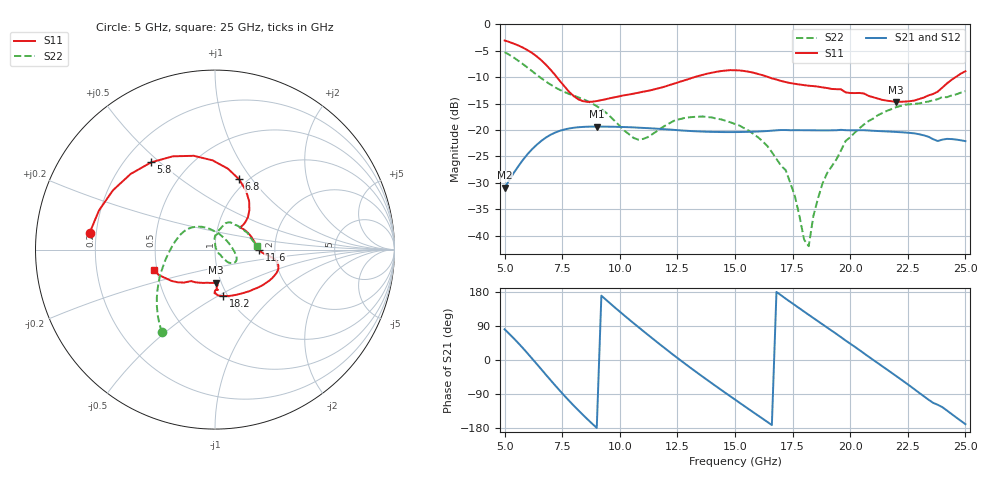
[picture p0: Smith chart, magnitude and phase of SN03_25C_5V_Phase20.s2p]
!File name = SN03_25C_5V_Phase20.s2p
!Date = 2/3/2014
!Time = 2:35 PM
!Test duration(min) = 0.07
!Test = SPars
!MPTS version = 7.120.8
!Comments =
!set_LD1(binary) = 20
!set_LD2(binary) = 524267
!test = SPars
!date_code = 20140203
!file_name = SN03_25C_5V_Phase20.s2p
!VREF(V) = 5.000
!VREF(mA) = 0.002
# GHz  S  DB  R  50
!%	Freq(GHz)  S11(dB)  S11(deg)  S21(dB)  S21(deg)  S12(dB)  S12(deg)  S22(dB)  S22(deg)
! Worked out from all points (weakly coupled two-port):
!   101 points, 5 GHz to 25 GHz, reference 50 ohm
!   highest |S21| = -19.34 dB at 9 GHz (marker M1); lowest = -30.9 dB at 5 GHz (marker M2)
!   lowest |S11| = -14.7 dB at 22 GHz (marker M3), VSWR 1.45, Z = 47 - j18 ohm
!   |S11| at or under -10 dB: 7.27 GHz to 13.22 GHz (5.952 GHz wide, 58.1 % of centre); 16.46 GHz to 24.57 GHz (8.109 GHz wide, 39.5 % of centre)
!   |S22| runs from -42.0 to -5.2 dB; largest |S21 - S12| = 0.00043
!   S11 on the Smith chart (normalised r, x): 5 GHz: 0.17, +0.06; 5.8 GHz: 0.31, +0.47; 6.8 GHz: 0.92, +0.87; 11.6 GHz: 1.65, -0.00; 18.2 GHz: 0.95, -0.53; 25 GHz: 0.48, -0.13
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5  -3.04 172.5  -30.93 81.0  -30.94 81.0  -5.24 -122.7
5.8  -4.40 126.2  -25.62 31.0  -25.63 31.0  -7.53 -140.5
6.8  -7.66 71.1  -21.39 -39.4  -21.43 -39.3  -10.83 -166.7
7.6  -11.74 44.7  -19.88 -94.5  -19.91 -94.4  -12.79 169.9
8.4  -14.53 41.9  -19.41 -144.8  -19.43 -144.7  -14.13 146.9
9  -14.51 40.0  -19.34 -179.2  -19.36 -179.1  -15.48 131.2
10.6  -13.10 13.1  -19.50 97.1  -19.51 97.2  -21.50 62.7
11.6  -12.17 -0.3  -19.74 48.1  -19.75 48.1  -20.23 4.3
11.8  -11.96 -1.8  -19.80 38.4  -19.81 38.4  -19.61 -2.9
13.2  -10.03 -7.3  -20.21 -26.4  -20.21 -26.5  -17.52 -25.8
15  -8.67 -18.5  -20.38 -104.4  -20.38 -104.5  -18.85 -40.9
17.2  -10.91 -59.6  -19.99 161.9  -20.01 161.9  -27.59 -44.1
17.6  -11.24 -68.6  -20.02 144.8  -20.04 144.9  -32.50 -44.3
18  -11.49 -76.5  -20.03 127.7  -20.05 127.8  -40.75 -4.2
18.2  -11.61 -80.1  -20.04 119.3  -20.05 119.3  -41.98 53.7
18.4  -11.68 -82.8  -20.05 110.8  -20.06 110.9  -36.30 76.9
18.8  -11.92 -86.8  -20.06 94.0  -20.07 94.0  -30.09 87.8
19.8  -12.85 -89.9  -20.02 51.4  -20.03 51.5  -22.07 89.2
21.8  -14.55 -87.1  -20.31 -33.9  -20.33 -33.9  -16.02 68.2
22  -14.68 -88.9  -20.36 -42.5  -20.38 -42.4  -15.65 65.5
23.6  -13.16 -127.1  -21.73 -113.0  -21.75 -112.9  -14.34 37.9
25  -8.86 -161.2  -22.10 -169.3  -22.11 -169.3  -12.63 5.0
